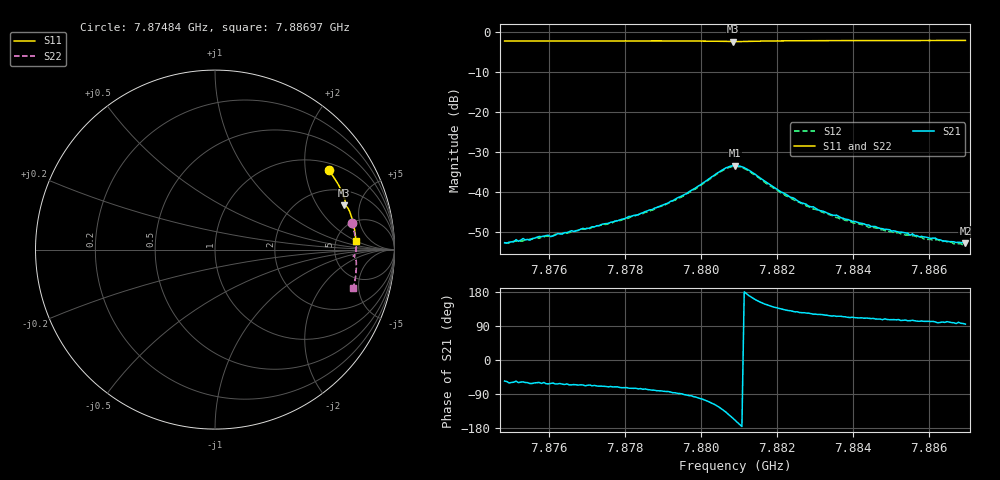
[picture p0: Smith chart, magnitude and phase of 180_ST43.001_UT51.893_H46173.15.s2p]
#  HZ  S  DB  R  50.00
! Rohde & Schwarz Vector Network Analyzer
! Rohde-Schwarz,ZNB20-2Port,1311601062101988,3.16
! Created: UTC 1/12/2023, 6:42:44 PM
! freq[Hz]  db:S11  ang:S11  db:S21  ang:S21  db:S12  ang:S12  db:S22  ang:S22
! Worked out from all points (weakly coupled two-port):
!   201 points, 7.87484 GHz to 7.88697 GHz, reference 50 ohm
!   highest |S21| = -33.45 dB at 7.8809 GHz (marker M1); lowest = -52.9 dB at 7.88697 GHz (marker M2)
!   lowest |S11| = -2.4 dB at 7.88084 GHz (marker M3), VSWR 7.40, Z = 151 + j178 ohm
!   |S11| at or under -10 dB: nowhere
!   |S22| runs from -2.3 to -1.9 dB; largest |S21 - S12| = 0.0014
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7.874837e9  -2.24 34.9  -52.76 -55.6  -52.82 -60.5  -2.17 11.0
7.875201e9  -2.23 33.9  -52.40 -59.8  -52.24 -62.8  -2.16 10.1
7.875322e9  -2.23 33.6  -51.71 -57.7  -52.30 -62.9  -2.17 9.8
7.875504e9  -2.23 33.1  -52.12 -62.0  -51.89 -64.0  -2.16 9.4
7.87599e9  -2.22 31.7  -50.87 -62.9  -51.15 -65.1  -2.14 8.3
7.87605e9  -2.22 31.6  -51.24 -61.7  -51.07 -66.4  -2.15 8.1
7.876899e9  -2.21 29.3  -49.16 -65.9  -49.37 -70.3  -2.13 6.2
7.878052e9  -2.19 26.1  -46.48 -72.8  -46.77 -76.5  -2.09 3.4
7.878901e9  -2.18 23.7  -43.69 -81.4  -43.77 -85.1  -2.09 1.4
7.879507e9  -2.20 22.0  -41.00 -89.3  -41.24 -93.0  -2.09 -0.1
7.880539e9  -2.31 19.2  -34.69 -128.3  -34.86 -131.4  -2.20 -2.5
7.880842e9  -2.36 18.9  -33.47 -153.1  -33.67 -156.3  -2.26 -2.7
7.880903e9  -2.36 18.9  -33.45 -158.9  -33.63 -162.1  -2.26 -2.7
7.881206e9  -2.32 18.7  -34.26 174.9  -34.47 171.5  -2.22 -2.7
7.882358e9  -2.16 15.6  -41.37 130.0  -41.53 126.8  -2.05 -5.2
7.882965e9  -2.14 14.0  -43.76 120.9  -44.33 117.8  -2.01 -6.7
7.883996e9  -2.12 11.2  -47.41 112.9  -47.72 109.5  -1.99 -9.0
7.884966e9  -2.10 8.6  -49.49 106.3  -49.95 104.0  -1.96 -11.2
7.885512e9  -2.09 7.1  -50.88 103.8  -50.98 101.6  -1.96 -12.3
7.885573e9  -2.10 7.0  -50.52 104.7  -51.00 100.1  -1.96 -12.5
7.885755e9  -2.09 6.5  -51.29 102.2  -51.30 99.4  -1.96 -12.9
7.886968e9  -2.08 3.4  -52.90 94.7  -53.62 94.0  -1.94 -15.5
